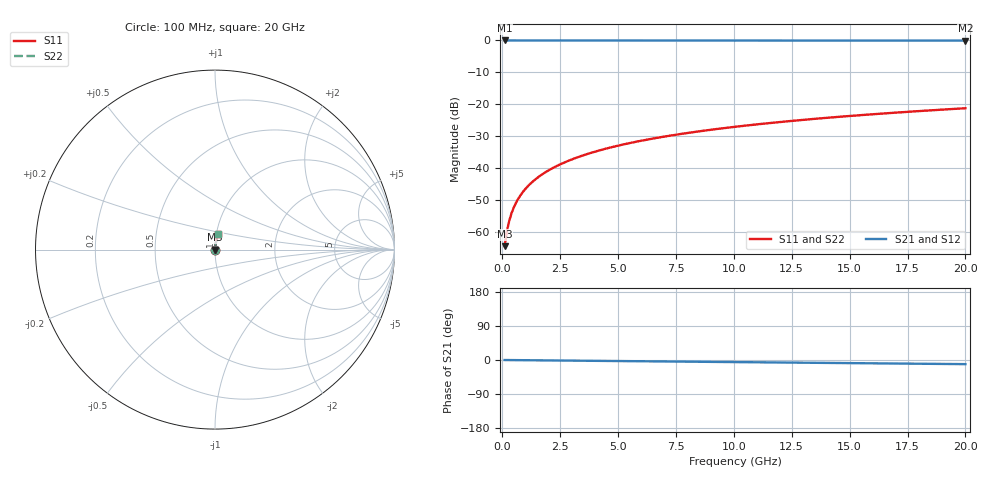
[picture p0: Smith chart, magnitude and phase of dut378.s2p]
! Touchstone file exported from HFSS 2026.1.0
!  File:  C:/ffzhzh/LocalFiles/Ansys_Project_Files/temp_train_TSV_378_1783019712_51716.aedt
!  Generated:  03:17:37 AM Jul  3, 2026
!  Design:  TSV
!  Project:  temp_train_TSV_378_1783019712_51716
! Variables:
!  h_bsmrdl = 2um
!  h_ox = 20um
!  h_rdl = 5um
!  h_sub = 96.42um
!  h_tmrdl = 5um
!  h_tsv = 96.42um
!  h_via = 3um
!  l_bsmrdl = 300um
!  l_sub = 411.74um
!  l_tmrdl = 200um
!  m_sub = 200um
!  pitch = 49.21um
!  r_tsv = 5.87um
!  s_tmrdl = 10um
!  w_bsmrdl = 18um
!  w_sub = 500um
!  w_tmrdl = 12um
!  x_tsv_center1 = 206um
!  x_tsv_center2 = 524um
!  x_tsv_center3 = 736um
!  x_tsv_center4 = 1054um
!  x_tsv_center5 = 1266um
!  x_tsv_center6 = 1584um
# GHz S MA R 50.000000
! Terminal data exported
! Port[1] = TSV1_1_T1
! Port[2] = TSV1_1_T2
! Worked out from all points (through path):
!   200 points, 100 MHz to 20 GHz, reference 50 ohm
!   highest |S21| = 0.00 dB at 100 MHz (marker M1); lowest = -0.1 dB at 20 GHz (marker M2)
!   group delay of S21, straight-line fit = 1.51 ps
!   lowest |S11| = -64.4 dB at 100 MHz (marker M3), VSWR 1.00, Z = 50 + j0.0486 ohm
!   |S11| at or under -10 dB: start of sweep to end of sweep
!   |S22| runs from -64.4 to -21.2 dB; largest |S21 - S12| = 2.3e-15
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0.1  0.0005998 54.0  0.9996 -0.1  0.9996 -0.1  0.0005998 54.0
! Gamma 0 0 0 0
! Port Impedance 50 0 50 0
0.2  0.001035 69.5  0.9996 -0.1  0.9996 -0.1  0.001035 69.5
0.3  0.001499 75.3  0.9996 -0.2  0.9996 -0.2  0.001499 75.3
0.4  0.001968 78.2  0.9996 -0.2  0.9996 -0.2  0.001968 78.2
0.5  0.002437 79.9  0.9996 -0.3  0.9996 -0.3  0.002437 79.9
0.6  0.002904 81.0  0.9996 -0.3  0.9996 -0.3  0.002904 81.0
0.7  0.003367 81.7  0.9995 -0.4  0.9995 -0.4  0.003367 81.7
0.8  0.003827 82.3  0.9995 -0.5  0.9995 -0.5  0.003827 82.3
1  0.004741 83.0  0.9995 -0.6  0.9995 -0.6  0.004741 83.0
1.4  0.006548 83.9  0.9994 -0.8  0.9994 -0.8  0.006548 83.9
1.7  0.007894 84.3  0.9993 -1.0  0.9993 -1.0  0.007894 84.3
2  0.009236 84.5  0.9992 -1.1  0.9992 -1.1  0.009236 84.5
2.7  0.01236 84.8  0.9991 -1.5  0.9991 -1.5  0.01236 84.8
3.5  0.0159 84.8  0.999 -1.9  0.999 -1.9  0.0159 84.8
4.2  0.01899 84.6  0.9988 -2.3  0.9988 -2.3  0.01899 84.6
5  0.0225 84.4  0.9986 -2.8  0.9986 -2.8  0.0225 84.4
6.8  0.03035 83.8  0.9982 -3.8  0.9982 -3.8  0.03035 83.8
8.3  0.03686 83.2  0.9979 -4.6  0.9979 -4.6  0.03686 83.2
10.1  0.04463 82.4  0.9974 -5.6  0.9974 -5.6  0.04463 82.4
13.4  0.0588 80.9  0.9965 -7.3  0.9965 -7.3  0.0588 80.9
16.7  0.07284 79.3  0.9954 -9.1  0.9954 -9.1  0.07284 79.3
20  0.08672 77.6  0.994 -10.9  0.994 -10.9  0.08672 77.6
